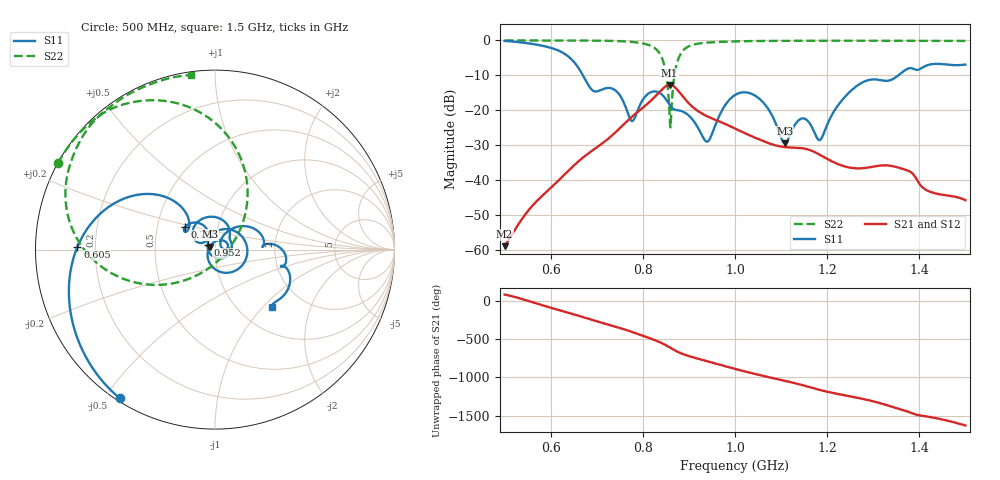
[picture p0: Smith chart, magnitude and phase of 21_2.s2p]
! TOUCHSTONE file generated by CST MICROWAVE STUDIO
! Date and time: Fri Oct  2 16:29:51 2020
! Project name: Scenario_1_Free_Space_out_of_line.cst
! Parameters = {Lambda=346.42; Step_1=17.321; dy1=0.82; dx1=346; L_HA=400; MT=2.54; Rad_Dielectric=30; Rad_Lower=7.3; Rad_Upper=30; a_HA=580; a_WG=246; b_HA=500; b_WG=121; c_HA=0; c_WG=187; d_feed=85; h_feed=15; h_lower=18; h_upper=40}
! Header version: 2018
! Port assignment regex: !\s*Touchstone port\s*([0-9]+)\s*=\s*(CST MWS port|CST DS port)\s*([0-9]+|Zmin|Zmax)\s*\(\"(.*)\"\)(\s*mode\s*([0-9]+))?.*
! Touchstone port assignment:
! Touchstone port 1 = CST MWS port 1 ("")
! Touchstone port 2 = CST MWS port 2 ("")
# GHz S DB R 50
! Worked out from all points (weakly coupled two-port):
!   1003 points, 500 MHz to 1.5 GHz, reference 50 ohm
!   highest |S21| = -12.71 dB at 858 MHz (marker M1); lowest = -58.9 dB at 500 MHz (marker M2)
!   lowest |S11| = -29.5 dB at 1.108 GHz (marker M3), VSWR 1.07, Z = 47.2 + j1.63 ohm
!   |S11| at or under -10 dB: 670 MHz to 1.354 GHz (684.4 MHz wide, 67.6 % of centre)
!   |S22| runs from -24.9 to 0.0 dB; largest |S21 - S12| = 3.4e-05
!   S11 on the Smith chart (normalised r, x): 500 MHz: 0.01, -0.55; 605 MHz: 0.13, +0.01; 725 MHz: 0.69, +0.18; 952 MHz: 0.92, +0.05; 1.5 GHz: 1.41, -1.13
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0.5  -0.14 -122.7  -58.91 81.1  -58.91 81.1  -0.01 151.1
0.605  -2.31 178.9  -41.61 -98.8  -41.61 -98.8  -0.02 143.7
0.667  -9.31 129.6  -33.87 151.9  -33.87 151.9  -0.04 138.3
0.693  -14.46 140.3  -31.28 104.4  -31.28 104.4  -0.06 135.6
0.725  -13.60 143.0  -28.12 49.0  -28.12 49.0  -0.11 131.4
0.777  -23.10 136.3  -21.77 -48.7  -21.77 -48.7  -0.44 121.0
0.834  -14.85 89.0  -15.06 -174.4  -15.06 -174.4  -3.26 88.2
0.848  -16.47 60.9  -13.29 145.1  -13.29 145.1  -7.89 63.6
0.858  -18.43 46.1  -12.71 111.2  -12.71 111.2  -21.25 10.0
0.871  -19.89 35.3  -13.59 67.1  -13.59 67.1  -8.14 -149.9
0.891  -20.65 3.8  -16.73 15.2  -16.73 15.2  -2.42 177.1
0.937  -28.89 -134.4  -21.55 -65.7  -21.55 -65.7  -0.66 151.8
0.952  -26.12 147.2  -22.43 -90.4  -22.43 -90.4  -0.52 148.2
1  -15.62 27.6  -25.22 -170.1  -25.22 -170.1  -0.28 140.3
1.056  -17.06 -66.9  -28.53 105.7  -28.53 105.7  -0.15 133.8
1.108  -29.46 149.2  -30.54 35.4  -30.54 35.4  -0.12 129.0
1.141  -22.58 35.1  -30.78 -13.7  -30.79 -13.7  -0.11 126.2
1.167  -24.84 1.4  -31.62 -57.7  -31.62 -57.7  -0.10 124.2
1.184  -28.53 28.7  -32.74 -85.1  -32.74 -85.1  -0.09 122.9
1.256  -13.90 40.5  -36.55 -176.6  -36.55 -176.6  -0.08 117.4
1.334  -11.50 4.2  -35.83 67.8  -35.83 67.8  -0.09 111.5
1.5  -6.90 -44.8  -45.74 170.8  -45.75 170.8  -0.15 97.9
